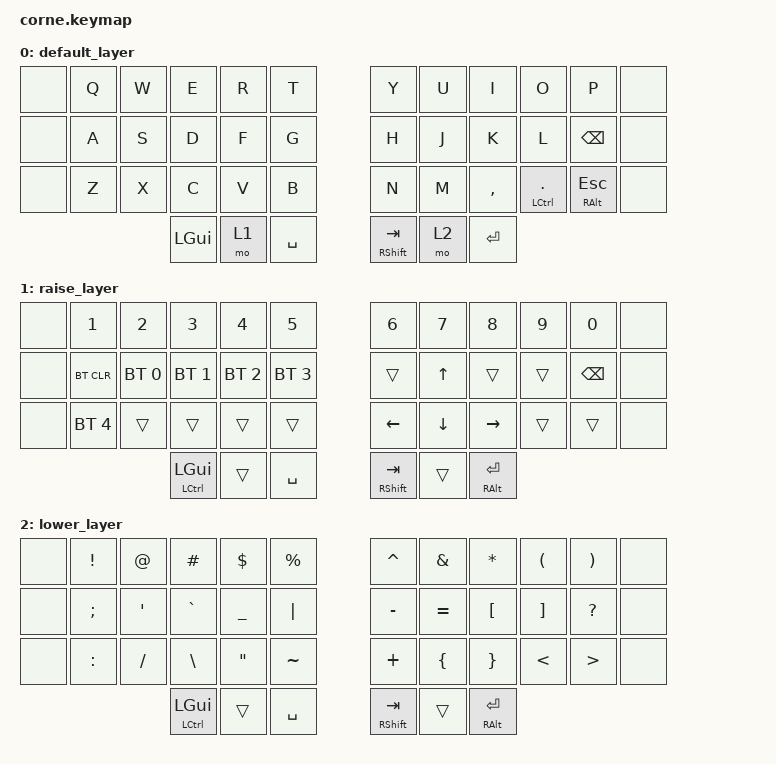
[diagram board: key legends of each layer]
/*
 * Copyright (c) 2020 The ZMK Contributors
 *
 * SPDX-License-Identifier: MIT
 */

#include <behaviors.dtsi>
#include <dt-bindings/zmk/keys.h>
#include <dt-bindings/zmk/bt.h>

/ {
        keymap {
                compatible = "zmk,keymap";

                default_layer {
// -----------------------------------------------------------------------------------------
// |  Q  |  W  |  E  |  R  |  T  |   |   Y  |  U   |  I  |  O  |   P   |
// |  A  |  S  |  D  |  F  |  G  |   |   H  |  J   |  K  |  L  |  BKSP | 
// |  Z  |  X  |  C  |  V  |  B  |   |   N  |  M   |  ,  |  . HOLD = CTRL  |  ESC HOLD = ALT  |  
//             | GUI | RSE | SPC |   | SHFT | LWR  | ENT |
//                                   |& TAB | 
                        bindings = <
   &none &kp Q &kp W &kp E &kp R &kp T         &kp Y &kp U  &kp I     &kp O   &kp P &none   
   &none &kp A &kp S &kp D &kp F &kp G         &kp H &kp J  &kp K     &kp L   &kp BSPC &none
   &none &kp Z &kp X &kp C &kp V &kp B         &kp N &kp M  &kp COMMA &mt LCTRL DOT &mt RALT ESC &none
       &kp LGUI &mo 1 &kp SPACE                &mt RSHFT TAB &mo 2 &kp RET
                        >;
                };
                raise_layer {
// -----------------------------------------------------------------------------------------
// |  1    |  2  |  3  |  4  |  5  |   |  6  |  7  |  8  |  9  |  0    |
// | BTCLR | BT1 | BT2 | BT3 | BT4 |   |     | UP  |     |     | BKSP  |
// |  BT5  |     |     |     |     |   | LFT | DWN | RGT |     |       |
//               | GUI |     | SPC |   | SHFT |    | ENT |
//               |& CTRL|              |& TAB |    |& ALT|
                        bindings = <
   &none &kp N1       &kp N2       &kp N3       &kp N4   &kp N5              &kp N6   &kp N7   &kp N8  &kp N9    &kp N0 &none
   &none &bt BT_CLR &bt BT_SEL 0 &bt BT_SEL 1 &bt BT_SEL 2 &bt BT_SEL 3      &trans &kp UP &trans &trans &kp BSPC &none
   &none &bt BT_SEL 4  &trans    &trans       &trans       &trans            &kp LEFT  &kp DOWN   &kp RIGHT  &trans  &trans &none 
                              &mt LCTRL LGUI   &trans   &kp SPACE      &mt RSHFT TAB  &trans   &mt RALT RET
                        >;
                };

                lower_layer {
// -----------------------------------------------------------------------------------------
// |  !  |  @  |  #  |  $  |  %  |   |  ^  |  &  |  *  |  (  |  )  |
// |  ;  |  '  |  `  |  _  | "|" |   |  -  |  =  |  [  |  ]  |  ?  |
// |  :  |  /  |  \  |  "  |  ~  |   |  +  |  {  |  }  |  <  |  >  |
//             | GUI |     | SPC |   | SHFT |     | ENT |
//             |& CTRL|              |& TAB |     |& ALT|
                        bindings = <
   &none &kp EXCL &kp AT &kp HASH &kp DLLR &kp PRCNT            &kp CARET &kp AMPS  &kp ASTRK &kp LPAR &kp RPAR &none
   &none &kp SEMI   &kp SQT &kp GRAVE   &kp UNDER  &kp PIPE     &kp MINUS &kp EQUAL &kp LBKT  &kp RBKT &kp QMARK &none
   &none &kp COLON   &kp FSLH &kp BSLH  &kp DQT  &kp TILDE       &kp PLUS &kp LBRC  &kp RBRC  &kp LESS_THAN  &kp GREATER_THAN &none 
          &mt LCTRL LGUI &trans   &kp SPACE               &mt RSHFT TAB   &trans    &mt RALT RET
                        >;
                };
        };
};
